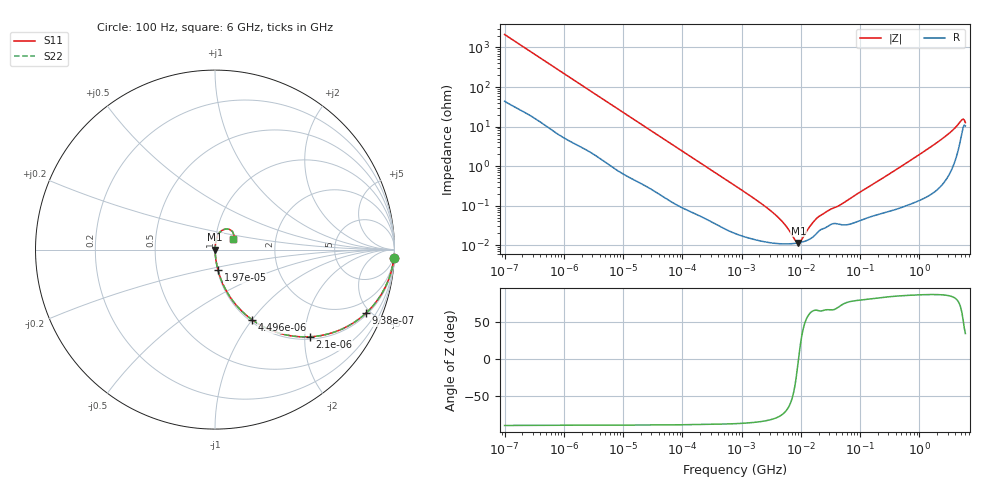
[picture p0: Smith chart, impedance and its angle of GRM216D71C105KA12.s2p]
!Murata Part Number: GRM216D71C105KA12
!These Parameters are Measured in Series Mode Connection
!Data Generated on Mar 30, 2021
!  o--ll--o
!Port1  Port2
!  o------o
!Operation Temp=25[degC], DC Bias Voltage=0[V]
!Freq. Start=100[Hz] Stop=6[GHz] 401[Steps]
# Hz S RI R 50
!Freq.(Hz) S11(Real) S11(Imag) S21(Real) S21(Imag) S12(Real) S12(Imag) S22(Real) S22(Imag)
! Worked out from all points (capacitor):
!   401 points, 100 Hz to 6 GHz, reference 50 ohm
!   read as one part in series: C = 745 nF near 109 Hz
!   lowest |Z| = 11.5 mohm at 9.09 MHz (marker M1)
!   series resonance near 9.15 MHz, so ESL is about 410 pH
!   S11 on the Smith chart (normalised r, x): 100 Hz: 2, -43; 938 Hz: 1.11, -4.68; 2.1 kHz: 1.06, -2.12; 4.496 kHz: 1.03, -1.00; 19.7 kHz: 1.01, -0.23; 6 GHz: 1.21, +0.14
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100  0.9968 -0.0468  0.00317 0.0468  0.00317 0.0468  0.9968 -0.0468
419  0.9601 -0.1842  0.0399 0.1842  0.0399 0.1842  0.9601 -0.1842
938  0.8401 -0.3549  0.1599 0.3549  0.1599 0.3549  0.8401 -0.3549
2008  0.5492 -0.4843  0.4508 0.4843  0.4508 0.4843  0.5492 -0.4843
2100  0.5279 -0.4859  0.4721 0.4859  0.4721 0.4859  0.5279 -0.4859
4496  0.2081 -0.3922  0.7919 0.3922  0.7919 0.3922  0.2081 -0.3922
8416  0.0744 -0.249  0.9256 0.249  0.9256 0.249  0.0744 -0.249
19704  0.0171 -0.115  0.9829 0.115  0.9829 0.115  0.0171 -0.115
40335  0.00533 -0.0579  0.9947 0.0579  0.9947 0.0579  0.00533 -0.0579
774597  0.000209 -0.00322  0.9998 0.00322  0.9998 0.00322  0.000209 -0.00322
3712478  0.000112 -0.000583  0.9999 0.000583  0.9999 0.000583  0.000112 -0.000583
5554849  0.000108 -0.000296  0.9999 0.000296  0.9999 0.000296  0.000108 -0.000296
8311524  0.000113 -5.5e-05  0.9999 5.5e-05  0.9999 5.5e-05  0.000113 -5.5e-05
9090158  0.000115 -3.7e-06  0.9999 3.7e-06  0.9999 3.7e-06  0.000115 -3.7e-06
1.039699e7  0.00012 7.36e-05  0.9999 -7.36e-05  0.9999 -7.36e-05  0.00012 7.36e-05
1.555665e7  0.000157 0.000321  0.9998 -0.000321  0.9998 -0.000321  0.000157 0.000321
2.128304e7  0.000244 0.000508  0.9998 -0.000508  0.9998 -0.000508  0.000244 0.000508
4.764863e7  0.000334 0.00102  0.9997 -0.00102  0.9997 -0.00102  0.000334 0.00102
3.124326e8  0.000758 0.00631  0.9992 -0.00631  0.9992 -0.00631  0.000758 0.00631
2.240541e9  0.00494 0.0445  0.9951 -0.0445  0.9951 -0.0445  0.00494 0.0445
5.016141e9  0.0617 0.1151  0.9383 -0.1151  0.9383 -0.1151  0.0617 0.1151
6e9  0.0978 0.0577  0.9022 -0.0577  0.9022 -0.0577  0.0978 0.0577
